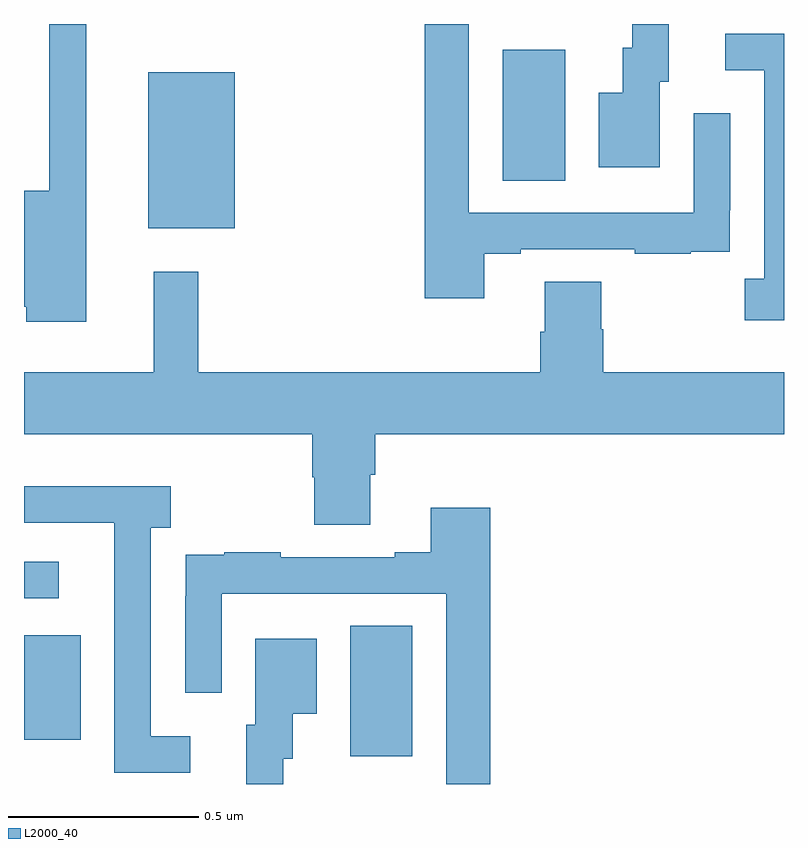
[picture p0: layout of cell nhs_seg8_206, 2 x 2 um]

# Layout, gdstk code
import gdstk
lib = gdstk.Library(unit=1e-6, precision=1e-09)
def R(c, l, rs):  # rectangles x0, y0, x1, y1
    for r in rs: c.add(gdstk.rectangle(r[:2], r[2:], *l))
def P(c, l, *ps):  # polygons
    for p in ps: c.add(gdstk.Polygon(p, *l))
L2000_40 = (2000, 40)

nhs_seg8_206 = lib.new_cell('nhs_seg8_206')
R(nhs_seg8_206, L2000_40, [(113.858,1128.973,114.022,1129.316), (113,1129.017,113.149,1129.291), (113,1129.389,113.092,1129.485), (113.327,1130.363,113.554,1130.773), (114.26,1130.488,114.424,1130.832)])
P(nhs_seg8_206, L2000_40, [(114.211,1130.295),(114.307,1130.295),(114.307,1130.307),(114.607,1130.307),(114.607,1130.295),(114.755,1130.295),(114.755,1130.301),(114.857,1130.301),(114.857,1130.41),(114.858,1130.41),(114.858,1130.665),(114.762,1130.665),(114.762,1130.403),(114.171,1130.403),(114.171,1130.9),(114.055,1130.9),(114.055,1130.178),(114.211,1130.178)],
  [(114.673,1130.748),(114.697,1130.748),(114.697,1130.9),(114.6,1130.9),(114.6,1130.838),(114.575,1130.838),(114.575,1130.719),(114.512,1130.719),(114.512,1130.523),(114.673,1130.523)],
  [(113.164,1130.9),(113.067,1130.9),(113.067,1130.461),(113,1130.461),(113,1130.156),(113.006,1130.156),(113.006,1130.117),(113.164,1130.117)],
  [(115,1130.874),(114.846,1130.874),(114.846,1130.778),(114.948,1130.778),(114.948,1130.23),(114.897,1130.23),(114.897,1130.12),(115,1130.12)],
  [(113.911,1129.714),(113.924,1129.714),(113.924,1129.82),(115,1129.82),(115,1129.984),(114.524,1129.984),(114.524,1130.097),(114.519,1130.097),(114.519,1130.222),(114.371,1130.222),(114.371,1130.09),(114.359,1130.09),(114.359,1129.984),(113.459,1129.984),(113.459,1130.248),(113.342,1130.248),(113.342,1129.984),(113,1129.984),(113,1129.82),(113.759,1129.82),(113.759,1129.707),(113.764,1129.707),(113.764,1129.582),(113.911,1129.582)],
  [(113.437,1129.026),(113.334,1129.026),(113.334,1129.574),(113.386,1129.574),(113.386,1129.684),(113,1129.684),(113,1129.587),(113.237,1129.587),(113.237,1129.387),(113.238,1129.387),(113.238,1128.93),(113.437,1128.93)],
  [(114.227,1129.627),(114.071,1129.627),(114.071,1129.51),(113.975,1129.51),(113.975,1129.497),(113.675,1129.497),(113.675,1129.51),(113.527,1129.51),(113.527,1129.503),(113.425,1129.503),(113.425,1129.394),(113.424,1129.394),(113.424,1129.14),(113.52,1129.14),(113.52,1129.401),(114.111,1129.401),(114.111,1128.9),(114.227,1128.9)],
  [(113.682,1128.966),(113.707,1128.966),(113.707,1129.085),(113.77,1129.085),(113.77,1129.282),(113.609,1129.282),(113.609,1129.056),(113.585,1129.056),(113.585,1128.9),(113.682,1128.9)])

lib.write_gds('nhs_seg8_206.gds')
